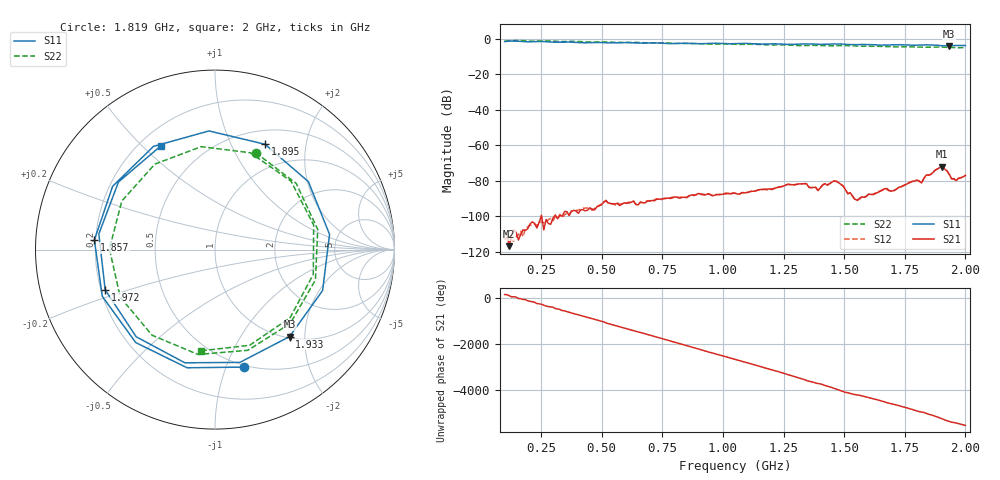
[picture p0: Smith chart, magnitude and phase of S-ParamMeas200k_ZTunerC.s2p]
!Keysight Technologies,N5242B,MY48420967,A.15.65.19
!Date: Monday, December 19, 2022 14:04:30
!Correction: S11(C  2-Port  )
!S21(C  2-Port  )
!S12(C  2-Port  )
!S22(C  2-Port  )
!S2P File: Measurements: S11, S21, S12, S22:
# Hz S  dB  R 50
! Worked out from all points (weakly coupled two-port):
!   201 points, 100 MHz to 2 GHz, reference 50 ohm
!   highest |S21| = -72.12 dB at 1.905 GHz (marker M1); lowest = -116.9 dB at 119 MHz (marker M2)
!   lowest |S11| = -3.9 dB at 1.933 GHz (marker M3), VSWR 4.53, Z = 51.4 - j84.1 ohm
!   |S11| at or under -10 dB: nowhere
!   |S22| runs from -5.0 to -0.9 dB; largest |S21 - S12| = 4.5e-06
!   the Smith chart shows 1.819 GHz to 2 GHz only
!   S11 on the Smith chart (normalised r, x): 1.819 GHz: 0.48, -1.16; 1.857 GHz: 0.19, +0.04; 1.895 GHz: 0.67, +1.36; 1.933 GHz: 1.03, -1.68; 1.972 GHz: 0.22, -0.17; 2 GHz: 0.28, +0.57
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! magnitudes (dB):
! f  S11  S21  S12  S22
! 100 MHz  -1.5  -109.4  -113.4  -1.1
! 119 MHz  -1.2  -116.9  -113.5  -1.0
! 423 MHz  -2.2  -96.3  -95.5  -1.6
! 736.5 MHz  -2.3  -90.4  -90.5  -2.2
! 1.05 GHz  -2.6  -87.1  -86.9  -3.0
! 1.373 GHz  -2.9  -83.8  -83.5  -3.6
! 1.687 GHz  -3.4  -85.5  -85.7  -4.4
! 1.791 GHz  -3.5  -80.2  -80.2  -4.5
! 1.8 GHz  -3.5  -79.7  -79.6  -4.6
! 1.819 GHz  -3.4  -81.2  -81.1  -4.6
! 1.839 GHz  -3.3  -76.8  -76.8  -4.7
! 1.857 GHz  -3.4  -76.3  -76.4  -4.6
! 1.877 GHz  -3.5  -74.0  -73.9  -4.6
! 1.895 GHz  -3.7  -72.5  -72.4  -4.6
! 1.905 GHz  -3.8  -72.1  -72.0  -4.6
! 1.924 GHz  -3.9  -74.4  -74.4  -4.7
! 1.933 GHz  -3.9  -76.3  -76.3  -4.8
! 1.943 GHz  -3.8  -78.9  -78.8  -4.8
! 1.952 GHz  -3.7  -78.8  -78.9  -4.9
! 1.962 GHz  -3.7  -79.8  -80.0  -4.9
! 1.972 GHz  -3.7  -78.6  -78.7  -5.0
! 2 GHz  -3.7  -77.0  -77.0  -4.9
